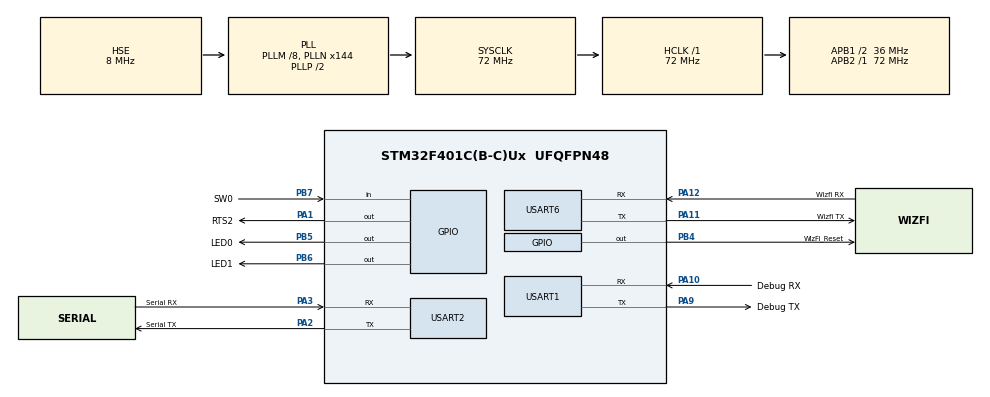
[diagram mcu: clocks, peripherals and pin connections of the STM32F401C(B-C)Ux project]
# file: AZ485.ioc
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Dma.Request0=USART2_RX
Dma.Request1=USART2_TX
Dma.Request2=USART6_RX
Dma.Request3=USART6_TX
Dma.USART2_RX.0.Direction=DMA_PERIPH_TO_MEMORY
Dma.USART2_RX.0.FIFOMode=DMA_FIFOMODE_DISABLE
Dma.USART2_RX.0.Instance=DMA1_Stream5
Dma.USART2_RX.0.MemDataAlignment=DMA_MDATAALIGN_BYTE
Dma.USART2_RX.0.MemInc=DMA_MINC_ENABLE
Dma.USART2_RX.0.Mode=DMA_NORMAL
Dma.USART2_RX.0.PeriphDataAlignment=DMA_PDATAALIGN_BYTE
Dma.USART2_RX.0.PeriphInc=DMA_PINC_DISABLE
Dma.USART2_RX.0.Priority=DMA_PRIORITY_HIGH
Dma.USART2_TX.1.Direction=DMA_MEMORY_TO_PERIPH
Dma.USART2_TX.1.FIFOMode=DMA_FIFOMODE_DISABLE
Dma.USART2_TX.1.Instance=DMA1_Stream6
Dma.USART2_TX.1.MemDataAlignment=DMA_MDATAALIGN_BYTE
Dma.USART2_TX.1.MemInc=DMA_MINC_ENABLE
Dma.USART2_TX.1.Mode=DMA_NORMAL
Dma.USART2_TX.1.PeriphDataAlignment=DMA_PDATAALIGN_BYTE
Dma.USART2_TX.1.PeriphInc=DMA_PINC_DISABLE
Dma.USART2_TX.1.Priority=DMA_PRIORITY_HIGH
Dma.USART6_RX.2.Direction=DMA_PERIPH_TO_MEMORY
Dma.USART6_RX.2.FIFOMode=DMA_FIFOMODE_DISABLE
Dma.USART6_RX.2.Instance=DMA2_Stream1
Dma.USART6_RX.2.MemDataAlignment=DMA_MDATAALIGN_BYTE
Dma.USART6_RX.2.MemInc=DMA_MINC_ENABLE
Dma.USART6_RX.2.Mode=DMA_NORMAL
Dma.USART6_RX.2.PeriphDataAlignment=DMA_PDATAALIGN_BYTE
Dma.USART6_RX.2.PeriphInc=DMA_PINC_DISABLE
Dma.USART6_RX.2.Priority=DMA_PRIORITY_HIGH
Dma.USART6_TX.3.Direction=DMA_MEMORY_TO_PERIPH
Dma.USART6_TX.3.FIFOMode=DMA_FIFOMODE_DISABLE
Dma.USART6_TX.3.Instance=DMA2_Stream6
Dma.USART6_TX.3.MemDataAlignment=DMA_MDATAALIGN_BYTE
Dma.USART6_TX.3.MemInc=DMA_MINC_ENABLE
Dma.USART6_TX.3.Mode=DMA_NORMAL
Dma.USART6_TX.3.PeriphDataAlignment=DMA_PDATAALIGN_BYTE
Dma.USART6_TX.3.PeriphInc=DMA_PINC_DISABLE
Dma.USART6_TX.3.Priority=DMA_PRIORITY_HIGH
FREERTOS.Tasks01=defaultTask,24,128,StartDefaultTask,Default,NULL,Dynamic,NULL,NULL
Mcu.Family=STM32F4
Mcu.Name=STM32F401C(B-C)Ux
Mcu.Package=UFQFPN48
NVIC.DMA1_Stream5_IRQn=true\:5\:0\:true\:false\:true\:true\:false\:false
NVIC.DMA1_Stream6_IRQn=true\:5\:0\:true\:false\:true\:true\:false\:false
NVIC.DMA2_Stream1_IRQn=true\:5\:0\:true\:false\:true\:true\:false\:false
NVIC.DMA2_Stream6_IRQn=true\:5\:0\:true\:false\:true\:true\:false\:false
NVIC.PriorityGroup=NVIC_PRIORITYGROUP_4
NVIC.TIM2_IRQn=true\:5\:0\:true\:false\:true\:true\:true\:false
NVIC.TIM3_IRQn=true\:5\:0\:true\:false\:true\:true\:true\:false
NVIC.TIM5_IRQn=true\:0\:0\:false\:false\:true\:false\:false\:true
NVIC.TimeBase=TIM5_IRQn
NVIC.TimeBaseIP=TIM5
NVIC.USART2_IRQn=true\:0\:0\:true\:false\:true\:true\:true\:false
NVIC.USART6_IRQn=true\:0\:0\:false\:false\:true\:true\:true\:false
PA1.GPIO_Label=RTS2
PA1.Signal=GPIO_Output
PA10.GPIO_Label=Debug RX
PA10.Mode=Asynchronous
PA10.Signal=USART1_RX
PA11.GPIO_Label=Wizfi TX
PA11.Mode=Asynchronous
PA11.Signal=USART6_TX
PA12.GPIO_Label=Wizfi RX
PA12.Mode=Asynchronous
PA12.Signal=USART6_RX
PA2.GPIO_Label=Serial TX
PA2.Mode=Asynchronous
PA2.Signal=USART2_TX
PA3.GPIO_Label=Serial RX
PA3.Mode=Asynchronous
PA3.Signal=USART2_RX
PA9.GPIO_Label=Debug TX
PA9.Mode=Asynchronous
PA9.Signal=USART1_TX
PB4.GPIO_Label=WizFi_Reset
PB4.Signal=GPIO_Output
PB5.GPIO_Label=LED0
PB5.Signal=GPIO_Output
PB6.GPIO_Label=LED1
PB6.Signal=GPIO_Output
PB7.GPIO_Label=SW0
PB7.Signal=GPIO_Input
PH0\ -\ OSC_IN.Mode=HSE-External-Oscillator
PH0\ -\ OSC_IN.Signal=RCC_OSC_IN
PH1\ -\ OSC_OUT.Mode=HSE-External-Oscillator
PH1\ -\ OSC_OUT.Signal=RCC_OSC_OUT
ProjectManager.HeapSize=0x200
ProjectManager.StackSize=0x400
ProjectManager.TargetToolchain=STM32CubeIDE
RCC.48MHZClocksFreq_Value=36000000
RCC.AHBFreq_Value=72000000
RCC.APB1CLKDivider=RCC_HCLK_DIV2
RCC.APB1Freq_Value=36000000
RCC.APB1TimFreq_Value=72000000
RCC.APB2Freq_Value=72000000
RCC.APB2TimFreq_Value=72000000
RCC.CortexFreq_Value=72000000
RCC.HCLKFreq_Value=72000000
RCC.HSE_VALUE=8000000
RCC.HSI_VALUE=16000000
RCC.LSE_VALUE=32768
RCC.PLLM=8
RCC.PLLN=144
RCC.PLLSourceVirtual=RCC_PLLSOURCE_HSE
RCC.SYSCLKFreq_VALUE=72000000
RCC.SYSCLKSource=RCC_SYSCLKSOURCE_PLLCLK
RCC.VCOOutputFreq_Value=144000000
TIM2.Period=DELIMIT_TIME_S - 1
TIM2.Prescaler=7200-1
TIM3.Period=DELIMIT_TIME_E - 1
TIM3.Prescaler=7200-1
USART1.VirtualMode=VM_ASYNC
USART2.VirtualMode=VM_ASYNC
USART6.VirtualMode=VM_ASYNC
VP_CRC_VS_CRC.Mode=CRC_Activate
VP_FREERTOS_VS_CMSIS_V2.Mode=CMSIS_V2
VP_SYS_VS_tim5.Mode=TIM5
VP_TIM2_VS_ClockSourceINT.Mode=Internal
VP_TIM3_VS_ClockSourceINT.Mode=Internal
board=custom

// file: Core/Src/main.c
/* USER CODE BEGIN Header */
/**
  ******************************************************************************
  * @file           : main.c
  * @brief          : Main program body
  ******************************************************************************
  * @attention
  *
  * <h2><center>&copy; Copyright (c) 2020 STMicroelectronics.
  * All rights reserved.</center></h2>
  *
  * This software component is licensed by ST under BSD 3-Clause license,
  * the "License"; You may not use this file except in compliance with the
  * License. You may obtain a copy of the License at:
  *                        opensource.org/licenses/BSD-3-Clause
  *
  ******************************************************************************
  */
/* USER CODE END Header */
#include "main.h"
#include "cmsis_os.h"

/* USER CODE BEGIN Includes */
#include <stdio.h>
#include "s2cCore.h"

/* USER CODE END Includes */

CRC_HandleTypeDef hcrc;

TIM_HandleTypeDef htim2;
TIM_HandleTypeDef htim3;

UART_HandleTypeDef huart1;
UART_HandleTypeDef huart2;
UART_HandleTypeDef huart6;
DMA_HandleTypeDef hdma_usart2_rx;
DMA_HandleTypeDef hdma_usart2_tx;
DMA_HandleTypeDef hdma_usart6_rx;
DMA_HandleTypeDef hdma_usart6_tx;

/* Definitions for defaultTask */
osThreadId_t defaultTaskHandle;
const osThreadAttr_t defaultTask_attributes = {
  .name = "defaultTask",
  .priority = (osPriority_t) osPriorityNormal,
  .stack_size = 128 * 4
};
/* USER CODE BEGIN PV */

osThreadId_t tskS2CCoreHandle;
const osThreadAttr_t tskS2C_attributes = {
  .name = "S2CTask",
  .priority = (osPriority_t) osPriorityNormal,
  .stack_size = 128 * 4
};

osMessageQueueId_t sQrecv, sQsend, eQrecv, eQsend;
uint8_t u8S2EBuffer[QUEUE_BUFFER_RX_SIZE];
uint8_t u8E2SBuffer[QUEUE_BUFFER_TX_SIZE];
uint32_t u32S2EBufLoc = 0;
uint32_t u32E2SBufLoc = 0;
uint32_t u32S2ECurrDMASize = E_BUFFER_SIZE;
uint32_t u32E2SCurrDMASize = E_BUFFER_SIZE;

/* USER CODE END PV */

void SystemClock_Config(void);
static void MX_GPIO_Init(void);
static void MX_DMA_Init(void);
static void MX_CRC_Init(void);
static void MX_TIM2_Init(void);
static void MX_USART1_UART_Init(void);
static void MX_USART2_UART_Init(void);
static void MX_USART6_UART_Init(void);
static void MX_TIM3_Init(void);
void StartDefaultTask(void *argument);

int main(void)
{

  /* MCU Configuration--------------------------------------------------------*/

  /* Reset of all peripherals, Initializes the Flash interface and the Systick. */
  HAL_Init();

  /* Configure the system clock */
  SystemClock_Config();

  /* Initialize all configured peripherals */
  MX_GPIO_Init();
  MX_DMA_Init();
  MX_CRC_Init();
  MX_TIM2_Init();
  MX_USART1_UART_Init();
  MX_USART2_UART_Init();
  MX_USART6_UART_Init();
  MX_TIM3_Init();
  /* USER CODE BEGIN 2 */
  setbuf(stdout, NULL); //make the size of printf buffer 0

  sQrecv = osMessageQueueNew(QUEUE_MAX_SIZE, sizeof(mQueue), NULL);
  sQsend = osMessageQueueNew(QUEUE_MAX_SIZE, sizeof(mQueue), NULL);
  eQrecv = osMessageQueueNew(QUEUE_MAX_SIZE, sizeof(mQueue), NULL);
  eQsend = osMessageQueueNew(QUEUE_MAX_SIZE, sizeof(mQueue), NULL);

  /* USER CODE END 2 */

  /* Init scheduler */
  osKernelInitialize();

  /* Create the thread(s) */
  /* creation of defaultTask */
  defaultTaskHandle = osThreadNew(StartDefaultTask, NULL, &defaultTask_attributes);

  /* USER CODE BEGIN RTOS_THREADS */
  tskS2CCoreHandle = osThreadNew(tskS2CCore, NULL, &tskS2C_attributes);
  /* add threads, ... */
  /* USER CODE END RTOS_THREADS */

  /* Start scheduler */
  osKernelStart();

  /* We should never get here as control is now taken by the scheduler */
  /* Infinite loop */
  while (1)
  {

  }
}

void SystemClock_Config(void)
{
  RCC_OscInitTypeDef RCC_OscInitStruct = {0};
  RCC_ClkInitTypeDef RCC_ClkInitStruct = {0};

  /** Configure the main internal regulator output voltage
  */
  __HAL_RCC_PWR_CLK_ENABLE();
  __HAL_PWR_VOLTAGESCALING_CONFIG(PWR_REGULATOR_VOLTAGE_SCALE2);
  /** Initializes the RCC Oscillators according to the specified parameters
  * in the RCC_OscInitTypeDef structure.
  */
  RCC_OscInitStruct.OscillatorType = RCC_OSCILLATORTYPE_HSE;
  RCC_OscInitStruct.HSEState = RCC_HSE_ON;
  RCC_OscInitStruct.PLL.PLLState = RCC_PLL_ON;
  RCC_OscInitStruct.PLL.PLLSource = RCC_PLLSOURCE_HSE;
  RCC_OscInitStruct.PLL.PLLM = 8;
  RCC_OscInitStruct.PLL.PLLN = 144;
  RCC_OscInitStruct.PLL.PLLP = RCC_PLLP_DIV2;
  RCC_OscInitStruct.PLL.PLLQ = 4;
  if (HAL_RCC_OscConfig(&RCC_OscInitStruct) != HAL_OK)
  {
    Error_Handler();
  }
  /** Initializes the CPU, AHB and APB buses clocks
  */
  RCC_ClkInitStruct.ClockType = RCC_CLOCKTYPE_HCLK|RCC_CLOCKTYPE_SYSCLK
                              |RCC_CLOCKTYPE_PCLK1|RCC_CLOCKTYPE_PCLK2;
  RCC_ClkInitStruct.SYSCLKSource = RCC_SYSCLKSOURCE_PLLCLK;
  RCC_ClkInitStruct.AHBCLKDivider = RCC_SYSCLK_DIV1;
  RCC_ClkInitStruct.APB1CLKDivider = RCC_HCLK_DIV2;
  RCC_ClkInitStruct.APB2CLKDivider = RCC_HCLK_DIV1;

  if (HAL_RCC_ClockConfig(&RCC_ClkInitStruct, FLASH_LATENCY_2) != HAL_OK)
  {
    Error_Handler();
  }
}

static void MX_CRC_Init(void)
{

  hcrc.Instance = CRC;
  if (HAL_CRC_Init(&hcrc) != HAL_OK)
  {
    Error_Handler();
  }

}

static void MX_TIM2_Init(void)
{

  TIM_ClockConfigTypeDef sClockSourceConfig = {0};
  TIM_MasterConfigTypeDef sMasterConfig = {0};

  htim2.Instance = TIM2;
  htim2.Init.Prescaler = 7200-1;
  htim2.Init.CounterMode = TIM_COUNTERMODE_UP;
  htim2.Init.Period = DELIMIT_TIME_S - 1;
  htim2.Init.ClockDivision = TIM_CLOCKDIVISION_DIV1;
  htim2.Init.AutoReloadPreload = TIM_AUTORELOAD_PRELOAD_DISABLE;
  if (HAL_TIM_Base_Init(&htim2) != HAL_OK)
  {
    Error_Handler();
  }
  sClockSourceConfig.ClockSource = TIM_CLOCKSOURCE_INTERNAL;
  if (HAL_TIM_ConfigClockSource(&htim2, &sClockSourceConfig) != HAL_OK)
  {
    Error_Handler();
  }
  sMasterConfig.MasterOutputTrigger = TIM_TRGO_RESET;
  sMasterConfig.MasterSlaveMode = TIM_MASTERSLAVEMODE_DISABLE;
  if (HAL_TIMEx_MasterConfigSynchronization(&htim2, &sMasterConfig) != HAL_OK)
  {
    Error_Handler();
  }
  /* USER CODE BEGIN TIM2_Init 2 */
  __HAL_TIM_CLEAR_FLAG(&htim2,TIM_FLAG_UPDATE);
  /* USER CODE END TIM2_Init 2 */

}

static void MX_TIM3_Init(void)
{

  TIM_ClockConfigTypeDef sClockSourceConfig = {0};
  TIM_MasterConfigTypeDef sMasterConfig = {0};

  htim3.Instance = TIM3;
  htim3.Init.Prescaler = 7200-1;
  htim3.Init.CounterMode = TIM_COUNTERMODE_UP;
  htim3.Init.Period = DELIMIT_TIME_E - 1;
  htim3.Init.ClockDivision = TIM_CLOCKDIVISION_DIV1;
  htim3.Init.AutoReloadPreload = TIM_AUTORELOAD_PRELOAD_DISABLE;
  if (HAL_TIM_Base_Init(&htim3) != HAL_OK)
  {
    Error_Handler();
  }
  sClockSourceConfig.ClockSource = TIM_CLOCKSOURCE_INTERNAL;
  if (HAL_TIM_ConfigClockSource(&htim3, &sClockSourceConfig) != HAL_OK)
  {
    Error_Handler();
  }
  sMasterConfig.MasterOutputTrigger = TIM_TRGO_RESET;
  sMasterConfig.MasterSlaveMode = TIM_MASTERSLAVEMODE_DISABLE;
  if (HAL_TIMEx_MasterConfigSynchronization(&htim3, &sMasterConfig) != HAL_OK)
  {
    Error_Handler();
  }
  /* USER CODE BEGIN TIM3_Init 2 */
  __HAL_TIM_CLEAR_FLAG(&htim3,TIM_FLAG_UPDATE);
  /* USER CODE END TIM3_Init 2 */

}

static void MX_USART1_UART_Init(void)
{

  huart1.Instance = USART1;
  huart1.Init.BaudRate = 115200;
  huart1.Init.WordLength = UART_WORDLENGTH_8B;
  huart1.Init.StopBits = UART_STOPBITS_1;
  huart1.Init.Parity = UART_PARITY_NONE;
  huart1.Init.Mode = UART_MODE_TX_RX;
  huart1.Init.HwFlowCtl = UART_HWCONTROL_NONE;
  huart1.Init.OverSampling = UART_OVERSAMPLING_16;
  if (HAL_UART_Init(&huart1) != HAL_OK)
  {
    Error_Handler();
  }
  /* USER CODE BEGIN USART1_Init 2 */
  __HAL_UART_ENABLE_IT(&huart1, UART_IT_RXNE);//Peter Enable "Receive data register not empty" interrupt
  __HAL_UART_CLEAR_FLAG(&huart1,UART_FLAG_RXNE);
  /* USER CODE END USART1_Init 2 */

}

static void MX_USART2_UART_Init(void)
{

  huart2.Instance = USART2;
  huart2.Init.BaudRate = 115200;
  huart2.Init.WordLength = UART_WORDLENGTH_8B;
  huart2.Init.StopBits = UART_STOPBITS_1;
  huart2.Init.Parity = UART_PARITY_NONE;
  huart2.Init.Mode = UART_MODE_TX_RX;
  huart2.Init.HwFlowCtl = UART_HWCONTROL_NONE;
  huart2.Init.OverSampling = UART_OVERSAMPLING_16;
  if (HAL_UART_Init(&huart2) != HAL_OK)
  {
    Error_Handler();
  }
  /* USER CODE BEGIN USART2_Init 2 */
  __HAL_UART_ENABLE_IT(&huart2, UART_IT_RXNE);//Peter Enable "Receive data register not empty" interrupt
  __HAL_UART_CLEAR_FLAG(&huart2, UART_FLAG_RXNE);//clear flag

  HAL_UART_Receive_DMA(&huart2, u8S2EBuffer, E_BUFFER_SIZE);
  __HAL_DMA_DISABLE_IT(&hdma_usart2_rx, DMA_IT_HT);//disable HT interrupt
  //__HAL_DMA_CLEAR_FLAG(&hdma_usart2_rx,DMA_FLAG_TCIF1_5);
  /* USER CODE END USART2_Init 2 */

}

static void MX_USART6_UART_Init(void)
{

  huart6.Instance = USART6;
  huart6.Init.BaudRate = 115200;
  huart6.Init.WordLength = UART_WORDLENGTH_8B;
  huart6.Init.StopBits = UART_STOPBITS_1;
  huart6.Init.Parity = UART_PARITY_NONE;
  huart6.Init.Mode = UART_MODE_TX_RX;
  huart6.Init.HwFlowCtl = UART_HWCONTROL_NONE;
  huart6.Init.OverSampling = UART_OVERSAMPLING_16;
  if (HAL_UART_Init(&huart6) != HAL_OK)
  {
    Error_Handler();
  }
  /* USER CODE BEGIN USART6_Init 2 */
	__HAL_UART_ENABLE_IT(&huart6, UART_IT_RXNE);//Peter Enable "Receive data register not empty" interrupt
	__HAL_UART_CLEAR_FLAG(&huart6, UART_FLAG_RXNE);//clear flag

	HAL_UART_Receive_DMA(&huart6, u8E2SBuffer, E_BUFFER_SIZE);
	__HAL_DMA_DISABLE_IT(&hdma_usart6_rx, DMA_IT_HT);//disable HT interrupt
  /* USER CODE END USART6_Init 2 */

}

static void MX_DMA_Init(void)
{

  /* DMA controller clock enable */
  __HAL_RCC_DMA1_CLK_ENABLE();
  __HAL_RCC_DMA2_CLK_ENABLE();

  /* DMA interrupt init */
  /* DMA1_Stream5_IRQn interrupt configuration */
  HAL_NVIC_SetPriority(DMA1_Stream5_IRQn, 5, 0);
  HAL_NVIC_EnableIRQ(DMA1_Stream5_IRQn);
  /* DMA1_Stream6_IRQn interrupt configuration */
  HAL_NVIC_SetPriority(DMA1_Stream6_IRQn, 5, 0);
  HAL_NVIC_EnableIRQ(DMA1_Stream6_IRQn);
  /* DMA2_Stream1_IRQn interrupt configuration */
  HAL_NVIC_SetPriority(DMA2_Stream1_IRQn, 5, 0);
  HAL_NVIC_EnableIRQ(DMA2_Stream1_IRQn);
  /* DMA2_Stream6_IRQn interrupt configuration */
  HAL_NVIC_SetPriority(DMA2_Stream6_IRQn, 5, 0);
  HAL_NVIC_EnableIRQ(DMA2_Stream6_IRQn);

}

static void MX_GPIO_Init(void)
{
  GPIO_InitTypeDef GPIO_InitStruct = {0};

  /* GPIO Ports Clock Enable */
  __HAL_RCC_GPIOH_CLK_ENABLE();
  __HAL_RCC_GPIOA_CLK_ENABLE();
  __HAL_RCC_GPIOB_CLK_ENABLE();

  /*Configure GPIO pin Output Level */
  HAL_GPIO_WritePin(RTS2_GPIO_Port, RTS2_Pin, GPIO_PIN_RESET);

  /*Configure GPIO pin Output Level */
  HAL_GPIO_WritePin(GPIOB, WizFi_Reset_Pin|LED0_Pin|LED1_Pin, GPIO_PIN_RESET);

  /*Configure GPIO pin : RTS2_Pin */
  GPIO_InitStruct.Pin = RTS2_Pin;
  GPIO_InitStruct.Mode = GPIO_MODE_OUTPUT_PP;
  GPIO_InitStruct.Pull = GPIO_NOPULL;
  GPIO_InitStruct.Speed = GPIO_SPEED_FREQ_LOW;
  HAL_GPIO_Init(RTS2_GPIO_Port, &GPIO_InitStruct);

  /*Configure GPIO pins : WizFi_Reset_Pin LED0_Pin LED1_Pin */
  GPIO_InitStruct.Pin = WizFi_Reset_Pin|LED0_Pin|LED1_Pin;
  GPIO_InitStruct.Mode = GPIO_MODE_OUTPUT_PP;
  GPIO_InitStruct.Pull = GPIO_NOPULL;
  GPIO_InitStruct.Speed = GPIO_SPEED_FREQ_LOW;
  HAL_GPIO_Init(GPIOB, &GPIO_InitStruct);

  /*Configure GPIO pin : SW0_Pin */
  GPIO_InitStruct.Pin = SW0_Pin;
  GPIO_InitStruct.Mode = GPIO_MODE_INPUT;
  GPIO_InitStruct.Pull = GPIO_NOPULL;
  HAL_GPIO_Init(SW0_GPIO_Port, &GPIO_InitStruct);

}

/* USER CODE BEGIN 4 */

int __io_putchar(int ch)
{
 uint8_t c[1];
 c[0] = ch & 0x00FF;
 HAL_UART_Transmit(&huart1, &*c, 1, 10);
 return ch;
}
/* USER CODE END 4 */

void StartDefaultTask(void *argument)
{
  for(;;)
  {
    osDelay(1);
  }
}

void HAL_TIM_PeriodElapsedCallback(TIM_HandleTypeDef *htim)
{
  if (htim->Instance == TIM5) {
    HAL_IncTick();
  }
}

void Error_Handler(void)
{
}

/************************ (C) COPYRIGHT STMicroelectronics *****END OF FILE****/
